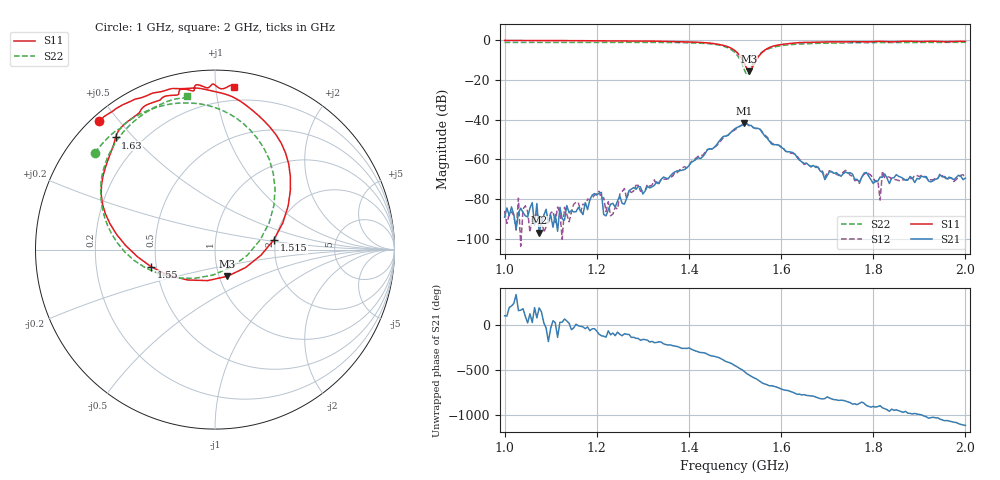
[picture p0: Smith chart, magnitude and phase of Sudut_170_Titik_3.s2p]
# Hz S RI R 50
! CMT, C1220, 16058040, 17.2.0/1
! Date: 14/08/2018 12:38:59
! Data: Format (Calibration Info)
! Freq  S11: Re/Im (F2)  S21: Re/Im (F2)  S12: Re/Im (F2)  S22: Re/Im (F2)
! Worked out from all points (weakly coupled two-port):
!   201 points, 1 GHz to 2 GHz, reference 50 ohm
!   highest |S21| = -41.63 dB at 1.52 GHz (marker M1); lowest = -96.8 dB at 1.075 GHz (marker M2)
!   lowest |S11| = -15.7 dB at 1.53 GHz (marker M3), VSWR 1.39, Z = 54.7 - j16.7 ohm
!   |S11| at or under -10 dB: 1.516 GHz to 1.547 GHz (30.56 MHz wide, 2 % of centre)
!   |S22| runs from -17.5 to -1.2 dB; largest |S21 - S12| = 0.00037
!   S11 on the Smith chart (normalised r, x): 1 GHz: 0.02, +0.44; 1.515 GHz: 1.95, +0.24; 1.55 GHz: 0.47, -0.10; 1.63 GHz: 0.11, +0.45; 2 GHz: 0.10, +1.12
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1e9  -0.6476 0.7146  -7.07e-06 3.51e-05  -1.24e-05 -4.93e-05  -0.6705 0.5397
1.075e9  -0.5682 0.7723  -1.43e-05 -2.31e-06  2.89e-05 1.96e-05  -0.6272 0.5903
1.17e9  -0.4752 0.8236  3.85e-05 -1.55e-05  7.56e-05 7.8e-06  -0.5586 0.6572
1.265e9  -0.3383 0.8736  -2.79e-05 -0.000103  -4.12e-05 -9.34e-05  -0.4744 0.7218
1.335e9  -0.2144 0.8966  -0.000246 3.53e-05  -0.000253 8.69e-05  -0.3742 0.7746
1.45e9  0.1847 0.7951  0.00178 0.000425  0.00181 0.000336  0.0173 0.7849
1.5e9  0.4201 0.3308  -0.000496 -0.00592  -0.000434 -0.00555  0.3348 0.34
1.515e9  0.3274 0.0543  -0.00537 -0.00486  -0.00526 -0.00501  0.2507 0.0526
1.52e9  0.2573 -0.0301  -0.00767 -0.00314  -0.00769 -0.00328  0.1798 -0.0322
1.53e9  0.0689 -0.1487  -0.00684 0.00201  -0.00686 0.00201  -0.0114 -0.1419
1.55e9  -0.3546 -0.0965  -0.00164 0.00583  -0.00188 0.00578  -0.3856 -0.1029
1.63e9  -0.554 0.625  0.00101 -0.000918  0.00105 -0.000851  -0.6157 0.4654
1.67e9  -0.4367 0.7503  0.000191 -0.000681  0.000221 -0.000683  -0.5632 0.5824
1.695e9  -0.4048 0.7893  -6.09e-05 -0.000307  -5.84e-05 -0.000334  -0.5309 0.6301
1.74e9  -0.3003 0.8393  -0.000301 -0.000381  -0.000401 -0.000355  -0.4715 0.6964
1.77e9  -0.2345 0.8595  -0.000243 -0.000119  -0.000226 -0.000109  -0.435 0.7282
1.785e9  -0.2049 0.8637  -0.000472 -2.5e-05  -0.000473 -5.31e-05  -0.416 0.7423
1.81e9  -0.1897 0.8937  -0.000281 4.86e-05  -0.000269 0.000117  -0.3861 0.7638
1.815e9  -0.1801 0.8953  -0.000362 1.63e-06  -9.24e-05 2.47e-05  -0.3801 0.7674
1.82e9  -0.1676 0.8945  -0.000325 0.000146  -0.000505 8.78e-05  -0.374 0.7711
1.835e9  -0.1283 0.8848  -0.000112 0.000223  -0.000237 0.000277  -0.3566 0.7817
2e9  0.1035 0.9075  0.00026 -0.000221  0.000249 -0.000239  -0.1566 0.8541
